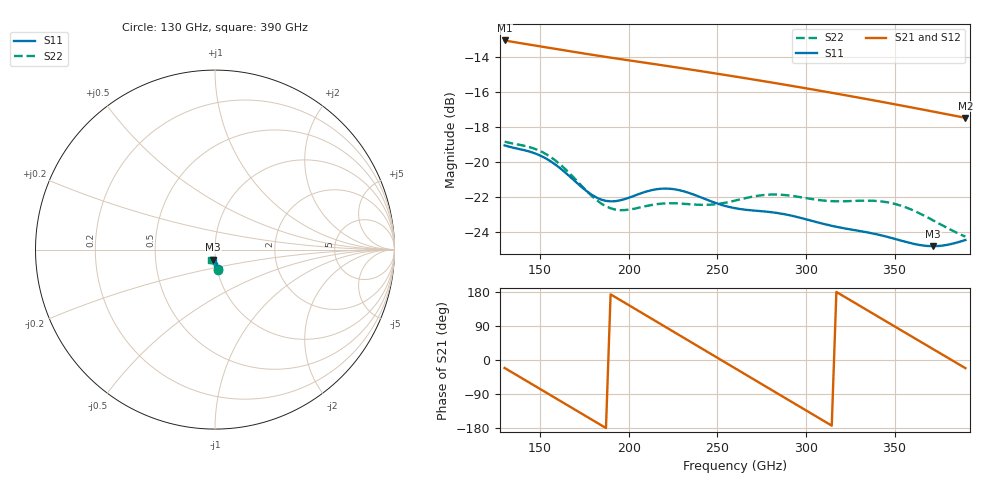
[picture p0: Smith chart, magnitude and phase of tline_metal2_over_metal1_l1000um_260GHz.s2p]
#  GHZ S DB R 50
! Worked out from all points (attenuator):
!   101 points, 130 GHz to 390 GHz, reference 50 ohm
!   highest |S21| = -13.08 dB at 130 GHz (marker M1); lowest = -17.5 dB at 390 GHz (marker M2)
!   lowest |S11| = -24.8 dB at 371.8 GHz (marker M3), VSWR 1.12, Z = 48.7 - j5.53 ohm
!   |S11| at or under -10 dB: start of sweep to end of sweep
!   |S22| runs from -24.3 to -18.9 dB; largest |S21 - S12| = 1.5e-13
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130  -19.07 -82.0  -13.08 -21.0  -13.08 -21.0  -18.85 -80.8
143  -19.39 -83.4  -13.30 -57.0  -13.30 -57.0  -19.14 -82.7
153.4  -19.82 -86.4  -13.48 -85.8  -13.48 -85.8  -19.57 -86.4
163.8  -20.58 -89.1  -13.65 -114.7  -13.65 -114.7  -20.38 -89.9
174.2  -21.51 -89.1  -13.82 -143.5  -13.82 -143.5  -21.45 -90.8
184.6  -22.16 -86.0  -13.98 -172.4  -13.98 -172.4  -22.39 -88.0
195  -22.20 -82.3  -14.14 158.8  -14.14 158.8  -22.76 -83.4
208  -21.76 -81.8  -14.33 122.7  -14.33 122.7  -22.57 -80.2
218.4  -21.54 -84.6  -14.49 93.9  -14.49 93.9  -22.39 -80.4
228.8  -21.63 -88.2  -14.65 64.9  -14.65 64.9  -22.38 -81.4
241.8  -22.07 -91.6  -14.85 28.8  -14.85 28.8  -22.46 -81.7
260  -22.65 -93.0  -15.14 -21.7  -15.14 -21.7  -22.22 -82.1
273  -22.80 -94.0  -15.35 -57.8  -15.35 -57.8  -21.94 -84.5
283.4  -22.92 -95.5  -15.53 -86.7  -15.53 -86.7  -21.87 -87.5
304.2  -23.39 -98.6  -15.88 -144.4  -15.88 -144.4  -22.14 -92.3
314.6  -23.65 -99.4  -16.07 -173.2  -16.07 -173.2  -22.25 -93.8
325  -23.86 -100.0  -16.26 158.0  -16.26 158.0  -22.24 -95.4
338  -24.09 -101.0  -16.49 122.0  -16.49 122.0  -22.23 -98.7
348.4  -24.35 -101.7  -16.69 93.3  -16.69 93.3  -22.36 -102.2
358.8  -24.63 -101.6  -16.89 64.5  -16.89 64.5  -22.70 -105.7
371.8  -24.81 -100.0  -17.14 28.7  -17.14 28.7  -23.34 -108.6
390  -24.46 -98.7  -17.50 -21.5  -17.50 -21.5  -24.27 -109.2
